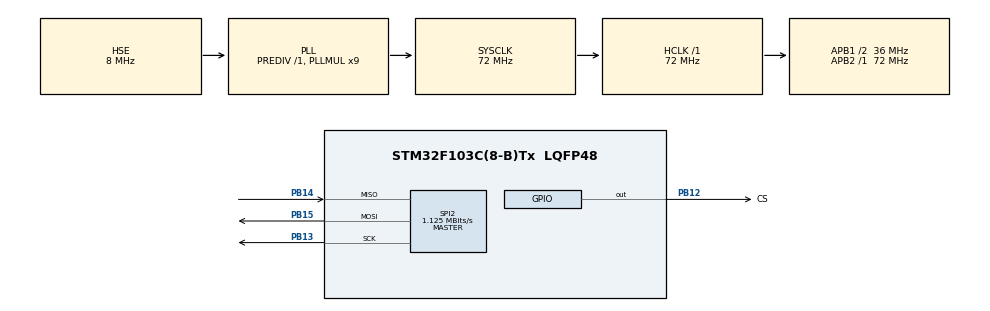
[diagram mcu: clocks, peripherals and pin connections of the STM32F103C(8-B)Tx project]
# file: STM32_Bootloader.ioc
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Mcu.Family=STM32F1
Mcu.Name=STM32F103C(8-B)Tx
Mcu.Package=LQFP48
NVIC.PriorityGroup=NVIC_PRIORITYGROUP_4
PA13.Mode=Serial_Wire
PA13.Signal=SYS_JTMS-SWDIO
PA14.Mode=Serial_Wire
PA14.Signal=SYS_JTCK-SWCLK
PB12.GPIO_Label=CS
PB12.Signal=GPIO_Output
PB13.Mode=Full_Duplex_Master
PB13.Signal=SPI2_SCK
PB14.Mode=Full_Duplex_Master
PB14.Signal=SPI2_MISO
PB15.Mode=Full_Duplex_Master
PB15.Signal=SPI2_MOSI
PD0-OSC_IN.Mode=HSE-External-Oscillator
PD0-OSC_IN.Signal=RCC_OSC_IN
PD1-OSC_OUT.Mode=HSE-External-Oscillator
PD1-OSC_OUT.Signal=RCC_OSC_OUT
ProjectManager.HeapSize=0x200
ProjectManager.StackSize=0x400
ProjectManager.TargetToolchain=STM32CubeIDE
RCC.AHBFreq_Value=72000000
RCC.APB1CLKDivider=RCC_HCLK_DIV2
RCC.APB1Freq_Value=36000000
RCC.APB1TimFreq_Value=72000000
RCC.APB2Freq_Value=72000000
RCC.APB2TimFreq_Value=72000000
RCC.HCLKFreq_Value=72000000
RCC.PLLMUL=RCC_PLL_MUL9
RCC.PLLSourceVirtual=RCC_PLLSOURCE_HSE
RCC.SYSCLKFreq_VALUE=72000000
RCC.SYSCLKSource=RCC_SYSCLKSOURCE_PLLCLK
RCC.USBFreq_Value=72000000
SPI2.BaudRatePrescaler=SPI_BAUDRATEPRESCALER_32
SPI2.CalculateBaudRate=1.125 MBits/s
SPI2.Direction=SPI_DIRECTION_2LINES
SPI2.Mode=SPI_MODE_MASTER
SPI2.VirtualType=VM_MASTER
board=custom

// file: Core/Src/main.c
/* USER CODE BEGIN Header */
/**
 ******************************************************************************
 * @file           : main.c
 * @brief          : Main program body
 ******************************************************************************
 * @attention
 *
 * Copyright (c) 2026 STMicroelectronics.
 * All rights reserved.
 *
 * This software is licensed under terms that can be found in the LICENSE file
 * in the root directory of this software component.
 * If no LICENSE file comes with this software, it is provided AS-IS.
 *
 ******************************************************************************
 */
/* USER CODE END Header */
#include "main.h"

/* USER CODE BEGIN Includes */
#include "bl_jump.h"
#include "bl_ota.h"
#include "flash_layout.h"

#include "usart2.h"
#include "w25q64.h"

#include "string.h"
/* USER CODE END Includes */

SPI_HandleTypeDef hspi2;

void SystemClock_Config(void);
static void MX_GPIO_Init(void);
static void MX_SPI2_Init(void);

/* USER CODE BEGIN 0 */

static uint32_t mem_base = 0;
static uint32_t mem_cursor = 0;
static uint32_t ota_image_total_size = 16;  // expected OTA Header size

void ota_mem_set_total_size(uint32_t size)
{
  ota_image_total_size = size;
}

int ota_read_mem(uint8_t *buf, uint32_t len)
{
  if(mem_cursor + len > ota_image_total_size)
    return -1;

  W25Q_FastRead(mem_base + mem_cursor, buf, len);

  mem_cursor += len;
  return 0;
}

/* USER CODE END 0 */

int main(void)
{

  /* MCU Configuration--------------------------------------------------------*/

  /* Reset of all peripherals, Initializes the Flash interface and the Systick. */
  HAL_Init();

  /* Configure the system clock */
  SystemClock_Config();

  /* Initialize all configured peripherals */
  MX_GPIO_Init();
  MX_SPI2_Init();
  /* USER CODE BEGIN 2 */

  USART2_Init();

  USART2_SendString("Bootloader Started\r\n");

  // Initialize and verify W25Q64
  W25Q_Reset();
  uint32_t id = W25Q_ReadID();

  if(id != 0xEF4017)
  {
    USART2_SendString("ERROR: W25Q64 not found!\r\n");
  }
  else
  {
    USART2_SendString("W25Q64 OK\r\n");
  }

  if(check_ota_request() == 0)
  {
    USART2_SendString("OTA Requested... Flashing..\r\n");

    ota_stream_t stream = { .read = ota_read_mem, .set_total_size = ota_mem_set_total_size };

    bl_ota_ctx_t ctx;
    if(bl_ota_run(&ctx, &stream) != 0)
    {
      USART2_SendString("OTA Failed...\r\n");
      while(1)
      {

      }
    }

    else
    {
      USART2_SendString("OTA Flashed Successfully\r\n");
    }
  }

  BootloaderError_t err = Bootloader_Is_App_Valid();

  switch(err)
  {
    case BOOT_SUCCESS:
      USART2_SendString("App Valid - Jumping...\r\n");
      HAL_Delay(10);
      Jump_To_Application();
      break;

    case MAGIC_ERROR:
      USART2_SendString("Magic Error\r\n");
      break;

    case CRC_ERROR:
      USART2_SendString("CRC Error\r\n");
      break;

    case RESET_ERROR:
      USART2_SendString("Reset Error\r\n");
      break;

    case SIZE_ERROR:
      USART2_SendString("Size Error\r\n");
      break;
  }

  USART2_SendString("Staying in Bootloader\r\n");

  /* USER CODE END 2 */

  /* Infinite loop */
  while(1)
  {

  }
}

void SystemClock_Config(void)
{
  RCC_OscInitTypeDef RCC_OscInitStruct = {0};
  RCC_ClkInitTypeDef RCC_ClkInitStruct = {0};

  /** Initializes the RCC Oscillators according to the specified parameters
  * in the RCC_OscInitTypeDef structure.
  */
  RCC_OscInitStruct.OscillatorType = RCC_OSCILLATORTYPE_HSE;
  RCC_OscInitStruct.HSEState = RCC_HSE_ON;
  RCC_OscInitStruct.HSEPredivValue = RCC_HSE_PREDIV_DIV1;
  RCC_OscInitStruct.HSIState = RCC_HSI_ON;
  RCC_OscInitStruct.PLL.PLLState = RCC_PLL_ON;
  RCC_OscInitStruct.PLL.PLLSource = RCC_PLLSOURCE_HSE;
  RCC_OscInitStruct.PLL.PLLMUL = RCC_PLL_MUL9;
  if (HAL_RCC_OscConfig(&RCC_OscInitStruct) != HAL_OK)
  {
    Error_Handler();
  }

  /** Initializes the CPU, AHB and APB buses clocks
  */
  RCC_ClkInitStruct.ClockType = RCC_CLOCKTYPE_HCLK|RCC_CLOCKTYPE_SYSCLK
                              |RCC_CLOCKTYPE_PCLK1|RCC_CLOCKTYPE_PCLK2;
  RCC_ClkInitStruct.SYSCLKSource = RCC_SYSCLKSOURCE_PLLCLK;
  RCC_ClkInitStruct.AHBCLKDivider = RCC_SYSCLK_DIV1;
  RCC_ClkInitStruct.APB1CLKDivider = RCC_HCLK_DIV2;
  RCC_ClkInitStruct.APB2CLKDivider = RCC_HCLK_DIV1;

  if (HAL_RCC_ClockConfig(&RCC_ClkInitStruct, FLASH_LATENCY_2) != HAL_OK)
  {
    Error_Handler();
  }
}

static void MX_SPI2_Init(void)
{

  /* SPI2 parameter configuration*/
  hspi2.Instance = SPI2;
  hspi2.Init.Mode = SPI_MODE_MASTER;
  hspi2.Init.Direction = SPI_DIRECTION_2LINES;
  hspi2.Init.DataSize = SPI_DATASIZE_8BIT;
  hspi2.Init.CLKPolarity = SPI_POLARITY_LOW;
  hspi2.Init.CLKPhase = SPI_PHASE_1EDGE;
  hspi2.Init.NSS = SPI_NSS_SOFT;
  hspi2.Init.BaudRatePrescaler = SPI_BAUDRATEPRESCALER_32;
  hspi2.Init.FirstBit = SPI_FIRSTBIT_MSB;
  hspi2.Init.TIMode = SPI_TIMODE_DISABLE;
  hspi2.Init.CRCCalculation = SPI_CRCCALCULATION_DISABLE;
  hspi2.Init.CRCPolynomial = 10;
  if (HAL_SPI_Init(&hspi2) != HAL_OK)
  {
    Error_Handler();
  }

}

static void MX_GPIO_Init(void)
{
  GPIO_InitTypeDef GPIO_InitStruct = {0};

  /* GPIO Ports Clock Enable */
  __HAL_RCC_GPIOD_CLK_ENABLE();
  __HAL_RCC_GPIOB_CLK_ENABLE();
  __HAL_RCC_GPIOA_CLK_ENABLE();

  /*Configure GPIO pin Output Level */
  HAL_GPIO_WritePin(CS_GPIO_Port, CS_Pin, GPIO_PIN_RESET);

  /*Configure GPIO pin : CS_Pin */
  GPIO_InitStruct.Pin = CS_Pin;
  GPIO_InitStruct.Mode = GPIO_MODE_OUTPUT_PP;
  GPIO_InitStruct.Pull = GPIO_NOPULL;
  GPIO_InitStruct.Speed = GPIO_SPEED_FREQ_LOW;
  HAL_GPIO_Init(CS_GPIO_Port, &GPIO_InitStruct);

}

void Error_Handler(void)
{
  __disable_irq();
  while(1)
  {
  }
}
